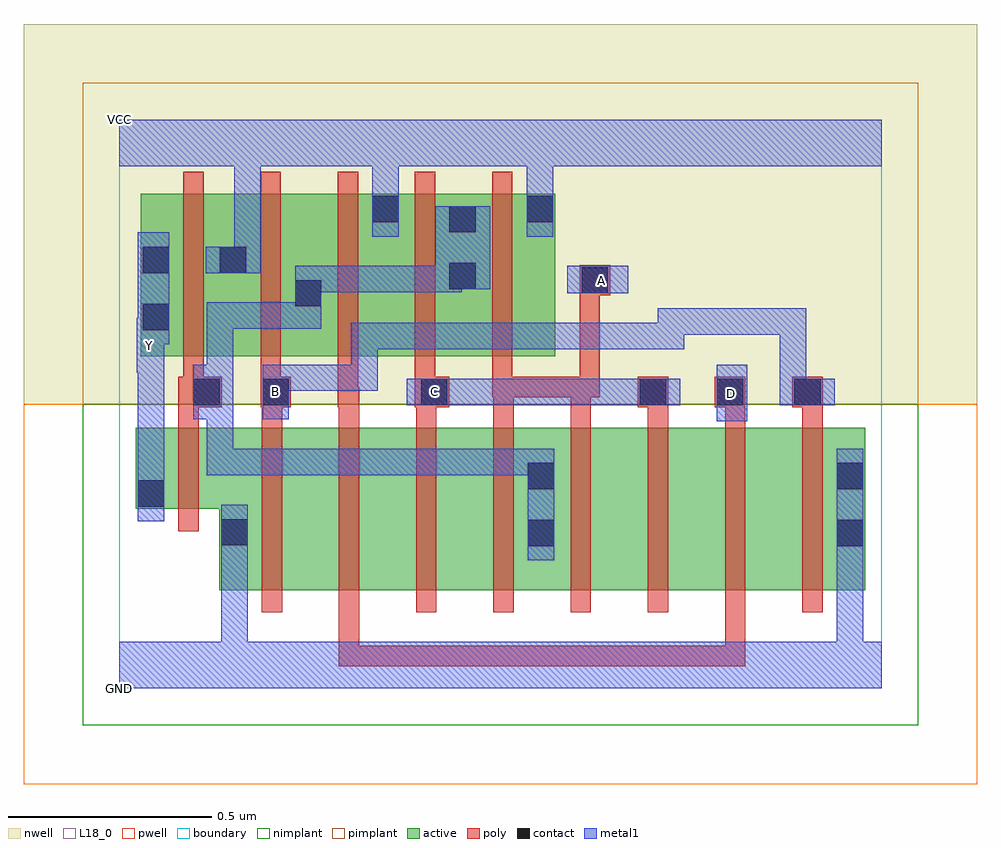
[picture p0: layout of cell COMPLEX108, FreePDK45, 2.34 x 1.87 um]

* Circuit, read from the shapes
.subckt COMPLEX108 A B C D GND VCC Y
M1 GND n1 Y VSUBS nfet w=0.2u l=0.05u
M2 n2 B GND VSUBS nfet w=0.4u l=0.05u
M3 n3 D n2 VSUBS nfet w=0.4u l=0.05u
M4 n4 C n3 VSUBS nfet w=0.4u l=0.05u
M5 n1 A n4 VSUBS nfet w=0.4u l=0.05u
M6 n5 A n1 VSUBS nfet w=0.4u l=0.05u
M7 n6 C n5 VSUBS nfet w=0.4u l=0.05u
M8 n7 D n6 VSUBS nfet w=0.4u l=0.05u
M9 GND B n7 VSUBS nfet w=0.4u l=0.05u
M10 VCC n1 Y n8 pfet w=0.4u l=0.05u
M11 n1 B VCC n8 pfet w=0.4u l=0.05u
M12 VCC D n1 n8 pfet w=0.4u l=0.05u
M13 n1 C VCC n8 pfet w=0.4u l=0.05u
M14 VCC A n1 n8 pfet w=0.4u l=0.05u
.ends

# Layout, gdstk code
import gdstk
lib = gdstk.Library(unit=1e-6, precision=1e-09)
def R(c, l, rs):  # rectangles x0, y0, x1, y1
    for r in rs: c.add(gdstk.rectangle(r[:2], r[2:], *l))
def A(c, l, x, y, w, h, nx, ny, dx, dy):  # array of equal rectangles
    R(c, l, [(x+i*dx, y+j*dy, x+i*dx+w, y+j*dy+h) for i in range(nx) for j in range(ny)])
active = (1, 0)
pwell = (2, 0)
nwell = (3, 0)
nimplant = (4, 0)
pimplant = (5, 0)
poly = (9, 0)
contact = (10, 0)
metal1 = (11, 0)
L18_0 = (18, 0)
boundary = (235, 0)

complex108 = lib.new_cell('COMPLEX108')
A(complex108, active, 0.427, 0.817, 0.265, 0.4, 3, 1, 0.19, 0)
R(complex108, active, [(0.245,0.242,0.47,0.642), (0.245,0.242,0.32,0.597), (0.47,0.242,0.66,0.642), (0.66,0.242,0.85,0.642), (0.85,0.242,1.075,0.642), (1,0.242,1.075,0.642), (1,0.242,1.23,0.642), (1.23,0.242,1.42,0.642), (1.42,0.242,1.61,0.642), (1.61,0.242,1.835,0.642), (1.76,0.242,1.835,0.642), (0.04,0.442,0.32,0.642), (0.04,0.442,0.115,0.642), (0.052,0.817,0.317,1.217), (0.052,0.817,0.127,1.155), (0.242,0.817,0.502,1.217), (0.427,0.817,0.502,1.155), (0.997,0.817,1.072,1.217), (0.242,0.907,0.317,1.155), (0.617,0.907,0.692,1.217), (0.807,0.907,0.882,1.2)])
R(complex108, pwell, [(-0.235,-0.235,2.11,0.7)])
R(complex108, nwell, [(-0.235,0.7,2.11,1.635)])
R(complex108, nimplant, [(-0.09,-0.09,1.965,0.7)])
R(complex108, pimplant, [(-0.09,0.7,1.965,1.49)])
A(complex108, poly, 0.35, 0.187, 0.05, 0.51, 8, 1, 0.19, 0)
A(complex108, poly, 0.35, 0.647, 0.05, 0.095, 3, 1, 0.19, 0)
A(complex108, poly, 1.3, 0.647, 0.05, 0.095, 3, 1, 0.19, 0)
A(complex108, poly, 1.275, 0.692, 0.075, 0.075, 3, 1, 0.19, 0)
A(complex108, poly, 0.157, 0.762, 0.05, 0.51, 5, 1, 0.19, 0)
R(complex108, poly, [(0.54,0.055,0.59,0.237), (0.54,0.055,0.59,0.105), (0.54,0.055,0.59,0.105), (0.54,0.055,0.59,0.105), (0.54,0.055,0.722,0.105), (0.672,0.055,0.722,0.105), (0.672,0.055,0.722,0.105), (0.672,0.055,0.722,0.105), (0.672,0.055,1.027,0.105), (0.977,0.055,1.027,0.105), (0.977,0.055,1.027,0.105), (0.977,0.055,1.027,0.105), (0.977,0.055,1.192,0.105), (1.142,0.055,1.192,0.105), (1.142,0.055,1.192,0.105), (1.142,0.055,1.192,0.105), (1.142,0.055,1.325,0.105), (1.275,0.055,1.325,0.105), (1.275,0.055,1.54,0.105), (1.49,0.055,1.54,0.237), (1.49,0.055,1.54,0.105), (1.49,0.055,1.54,0.105), (1.49,0.055,1.54,0.105), (0.145,0.387,0.195,0.697), (0.145,0.647,0.195,0.742), (0.92,0.647,0.97,0.767), (1.11,0.647,1.16,0.767), (0.145,0.692,0.252,0.767), (0.347,0.692,0.422,0.767), (0.537,0.692,0.587,0.812), (0.537,0.692,0.59,0.742), (0.727,0.692,0.812,0.767), (0.157,0.717,0.207,0.812), (0.347,0.717,0.397,0.812), (0.727,0.717,0.777,0.812), (0.917,0.717,0.967,0.812), (0.917,0.717,0.97,0.767), (0.92,0.717,0.97,0.767), (0.92,0.717,0.97,0.767), (0.92,0.717,1.16,0.767), (1.11,0.717,1.16,0.767), (1.11,0.717,1.16,0.767), (1.11,0.717,1.182,0.767), (1.132,0.717,1.182,1.017), (1.132,0.967,1.207,1.042)])
A(complex108, contact, 1.28, 0.697, 0.065, 0.065, 3, 1, 0.19, 0)
R(complex108, contact, [(1.005,0.35,1.07,0.415), (1.765,0.35,1.83,0.415), (0.25,0.352,0.315,0.417), (0.045,0.447,0.11,0.512), (1.005,0.49,1.07,0.555), (1.765,0.49,1.83,0.555), (0.182,0.697,0.247,0.762), (0.352,0.697,0.417,0.762), (0.742,0.697,0.807,0.762), (0.057,0.882,0.122,0.947), (0.432,0.94,0.497,1.005), (1.137,0.972,1.202,1.037), (0.812,0.982,0.877,1.047), (0.057,1.022,0.122,1.087), (0.247,1.022,0.312,1.087), (0.812,1.122,0.877,1.187), (0.622,1.147,0.687,1.212), (1.002,1.147,1.067,1.212)])
R(complex108, metal1, [(0,0,1.875,0.115), (0.25,0.05,0.315,0.382), (1.765,0.05,1.83,0.38), (1.005,0.315,1.07,0.59), (1.765,0.315,1.83,0.38), (1.765,0.315,1.83,0.38), (1.765,0.315,1.83,0.59), (0.25,0.317,0.315,0.382), (0.25,0.317,0.315,0.382), (0.25,0.317,0.315,0.452), (0.045,0.412,0.11,0.547), (0.045,0.482,0.11,0.842), (0.215,0.525,0.28,0.59), (0.215,0.525,0.497,0.59), (0.215,0.525,0.28,0.797), (0.432,0.525,0.497,0.59), (0.432,0.525,0.497,0.59), (0.432,0.525,0.497,0.59), (0.432,0.525,0.635,0.59), (0.57,0.525,0.635,0.59), (0.57,0.525,0.635,0.59), (0.57,0.525,0.635,0.59), (0.57,0.525,0.772,0.59), (0.707,0.525,0.772,0.59), (0.707,0.525,0.772,0.59), (0.707,0.525,0.772,0.59), (0.707,0.525,1.03,0.59), (0.965,0.525,1.03,0.59), (0.965,0.525,1.07,0.59), (1.47,0.657,1.545,0.797), (0.182,0.662,0.247,0.797), (0.352,0.662,0.417,0.797), (0.707,0.697,0.842,0.762), (0.777,0.697,0.842,0.762), (0.777,0.697,0.842,0.762), (0.777,0.697,1.03,0.762), (0.965,0.697,1.03,0.762), (0.965,0.697,1.172,0.762), (1.107,0.697,1.172,0.762), (1.107,0.697,1.172,0.762), (1.107,0.697,1.172,0.762), (1.107,0.697,1.31,0.762), (1.245,0.697,1.31,0.762), (1.245,0.697,1.31,0.762), (1.245,0.697,1.38,0.762), (1.625,0.697,1.69,0.762), (1.625,0.697,1.69,0.762), (1.625,0.697,1.76,0.762), (1.625,0.697,1.69,0.935), (0.182,0.732,0.28,0.797), (0.215,0.732,0.28,0.797), (0.215,0.732,0.28,0.95), (0.352,0.732,0.417,0.797), (0.352,0.732,0.417,0.797), (0.352,0.732,0.635,0.797), (0.57,0.732,0.635,0.797), (0.57,0.732,0.635,0.797), (0.57,0.732,0.635,0.797), (0.57,0.732,0.635,0.9), (0.042,0.777,0.11,0.912), (0.57,0.835,0.635,0.9), (0.57,0.835,0.892,0.9), (0.827,0.835,0.892,0.9), (0.827,0.835,0.892,0.9), (0.827,0.835,0.892,0.9), (0.827,0.835,1.03,0.9), (0.965,0.835,1.03,0.9), (0.965,0.835,1.167,0.9), (1.102,0.835,1.167,0.9), (1.102,0.835,1.167,0.9), (1.102,0.835,1.167,0.9), (1.102,0.835,1.39,0.9), (1.325,0.835,1.39,0.9), (1.325,0.835,1.39,0.9), (1.325,0.835,1.39,0.935), (0.045,0.847,0.11,0.912), (0.045,0.847,0.122,1.122), (1.325,0.87,1.552,0.935), (1.487,0.87,1.552,0.935), (1.487,0.87,1.552,0.935), (1.487,0.87,1.552,0.935), (1.487,0.87,1.69,0.935), (1.625,0.87,1.69,0.935), (0.215,0.885,0.28,0.95), (0.215,0.885,0.497,0.95), (0.432,0.885,0.497,0.97), (0.432,0.905,0.497,0.97), (0.432,0.905,0.497,1.04), (1.102,0.972,1.252,1.04), (0.432,0.975,0.497,1.04), (0.432,0.975,0.497,1.04), (0.432,0.975,0.635,1.04), (0.57,0.975,0.635,1.04), (0.57,0.975,0.635,1.04), (0.57,0.975,0.635,1.04), (0.57,0.975,0.842,1.04), (0.777,0.975,0.842,1.047), (0.777,0.982,0.842,1.047), (0.777,0.982,0.912,1.187), (0.212,1.022,0.347,1.087), (0.282,1.022,0.347,1.35), (0.622,1.112,0.687,1.247), (1.002,1.112,1.067,1.247), (0.622,1.182,0.687,1.35), (1.002,1.182,1.067,1.35), (0,1.285,1.875,1.4)])
R(complex108, L18_0, [(0,0,1.875,0.115), (0.25,0.05,0.315,0.382), (1.765,0.05,1.83,0.38), (1.765,0.315,1.83,0.38), (1.765,0.315,1.83,0.38), (1.765,0.315,1.83,0.59), (0.25,0.317,0.315,0.452), (0.25,0.317,0.315,0.382), (0.25,0.317,0.315,0.382), (0.045,0.412,0.11,0.547), (0.045,0.482,0.11,0.842), (1.47,0.657,1.545,0.797), (0.352,0.662,0.417,0.797), (1.472,0.692,1.537,0.757), (0.352,0.697,0.417,0.762), (0.707,0.697,0.842,0.762), (0.742,0.697,0.807,0.762), (0.777,0.697,0.842,0.762), (0.777,0.697,0.842,0.762), (0.777,0.697,1.03,0.762), (0.965,0.697,1.03,0.762), (0.965,0.697,1.172,0.762), (1.107,0.697,1.172,0.762), (1.107,0.697,1.172,0.762), (1.107,0.697,1.172,0.762), (1.107,0.697,1.31,0.762), (1.245,0.697,1.31,0.762), (1.245,0.697,1.31,0.762), (1.245,0.697,1.38,0.762), (1.625,0.697,1.69,0.762), (1.625,0.697,1.69,0.762), (1.625,0.697,1.76,0.762), (1.625,0.697,1.69,0.935), (0.352,0.732,0.417,0.797), (0.352,0.732,0.417,0.797), (0.352,0.732,0.635,0.797), (0.57,0.732,0.635,0.797), (0.57,0.732,0.635,0.797), (0.57,0.732,0.635,0.797), (0.57,0.732,0.635,0.9), (0.042,0.777,0.11,0.912), (0.042,0.812,0.107,0.877), (0.57,0.835,0.635,0.9), (0.57,0.835,0.892,0.9), (0.827,0.835,0.892,0.9), (0.827,0.835,0.892,0.9), (0.827,0.835,0.892,0.9), (0.827,0.835,1.03,0.9), (0.965,0.835,1.03,0.9), (0.965,0.835,1.167,0.9), (1.102,0.835,1.167,0.9), (1.102,0.835,1.167,0.9), (1.102,0.835,1.167,0.9), (1.102,0.835,1.39,0.9), (1.325,0.835,1.39,0.9), (1.325,0.835,1.39,0.9), (1.325,0.835,1.39,0.935), (0.045,0.847,0.122,1.122), (0.045,0.847,0.11,0.912), (1.325,0.87,1.552,0.935), (1.487,0.87,1.552,0.935), (1.487,0.87,1.552,0.935), (1.487,0.87,1.552,0.935), (1.487,0.87,1.69,0.935), (1.625,0.87,1.69,0.935), (1.102,0.972,1.252,1.04), (1.152,0.972,1.217,1.037), (0.212,1.022,0.347,1.087), (0.282,1.022,0.347,1.35), (0.622,1.112,0.687,1.247), (1.002,1.112,1.067,1.247), (0.622,1.182,0.687,1.35), (1.002,1.182,1.067,1.35), (0,1.285,1.875,1.4)])
R(complex108, boundary, [(0,0,1.875,1.4)])
complex108.add(gdstk.Label('A', (1.185,1.005), layer=11, texttype=0))
complex108.add(gdstk.Label('B', (0.385,0.73), layer=11, texttype=0))
complex108.add(gdstk.Label('C', (0.775,0.73), layer=11, texttype=0))
complex108.add(gdstk.Label('D', (1.505,0.725), layer=11, texttype=0))
complex108.add(gdstk.Label('Y', (0.075,0.845), layer=11, texttype=0))
complex108.add(gdstk.Label('VCC', (0,1.4), layer=11, texttype=0))
complex108.add(gdstk.Label('GND', (0,0), layer=11, texttype=0))

lib.write_gds('COMPLEX108.gds')
